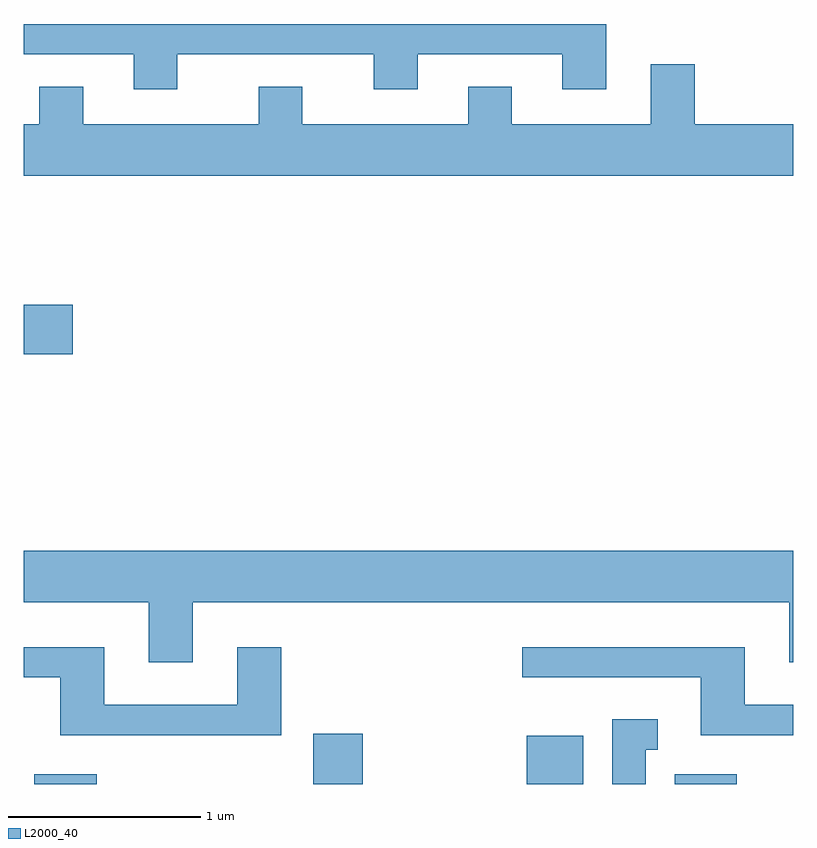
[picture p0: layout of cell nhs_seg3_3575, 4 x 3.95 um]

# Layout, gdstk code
import gdstk
lib = gdstk.Library(unit=1e-6, precision=1e-09)
def R(c, l, rs):  # rectangles x0, y0, x1, y1
    for r in rs: c.add(gdstk.rectangle(r[:2], r[2:], *l))
def P(c, l, *ps):  # polygons
    for p in ps: c.add(gdstk.Polygon(p, *l))
L2000_40 = (2000, 40)

nhs_seg3_3575 = lib.new_cell('nhs_seg3_3575')
R(nhs_seg3_3575, L2000_40, [(289.666,1193.892,289.989,1193.944), (291.116,1193.892,291.374,1194.154), (292.226,1193.892,292.519,1194.144), (292.996,1193.892,293.319,1193.944), (289.611,1196.126,289.864,1196.384)])
P(nhs_seg3_3575, L2000_40, [(290.409,1197.686),(291.431,1197.686),(291.431,1197.506),(291.659,1197.506),(291.659,1197.686),(292.411,1197.686),(292.411,1197.506),(292.639,1197.506),(292.639,1197.844),(289.611,1197.844),(289.611,1197.686),(290.181,1197.686),(290.181,1197.506),(290.409,1197.506)],
  [(293.611,1197.324),(293.099,1197.324),(293.099,1197.634),(292.871,1197.634),(292.871,1197.324),(292.149,1197.324),(292.149,1197.519),(291.921,1197.519),(291.921,1197.324),(291.059,1197.324),(291.059,1197.519),(290.831,1197.519),(290.831,1197.324),(289.919,1197.324),(289.919,1197.519),(289.691,1197.519),(289.691,1197.324),(289.611,1197.324),(289.611,1197.056),(293.611,1197.056)],
  [(290.489,1194.836),(293.591,1194.836),(293.591,1194.526),(293.611,1194.526),(293.611,1195.104),(289.611,1195.104),(289.611,1194.836),(290.261,1194.836),(290.261,1194.526),(290.489,1194.526)],
  [(293.611,1194.304),(293.359,1194.304),(293.359,1194.604),(292.203,1194.604),(292.203,1194.446),(293.131,1194.446),(293.131,1194.146),(293.611,1194.146)],
  [(290.949,1194.604),(290.721,1194.604),(290.721,1194.304),(290.029,1194.304),(290.029,1194.604),(289.611,1194.604),(289.611,1194.446),(289.801,1194.446),(289.801,1194.146),(290.949,1194.146)],
  [(292.844,1194.071),(292.908,1194.071),(292.908,1194.229),(292.671,1194.229),(292.671,1193.892),(292.844,1193.892)])

lib.write_gds('nhs_seg3_3575.gds')
